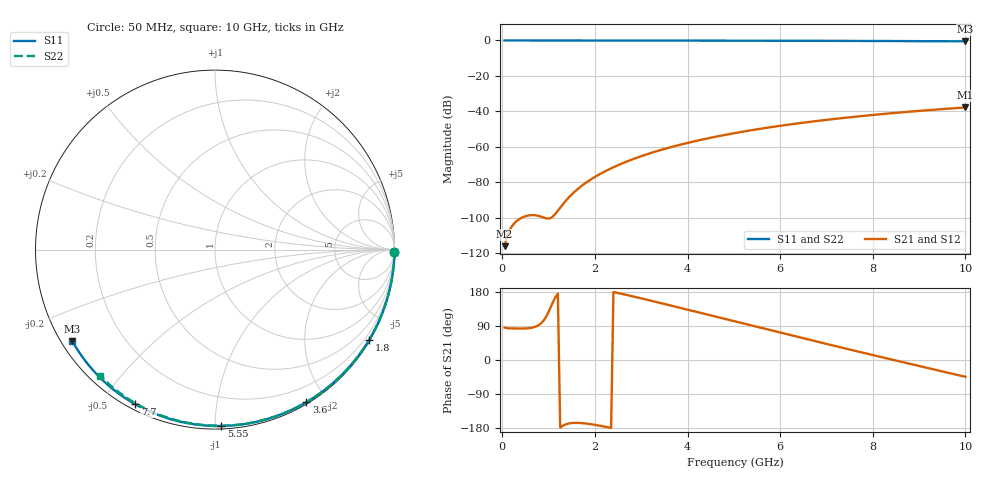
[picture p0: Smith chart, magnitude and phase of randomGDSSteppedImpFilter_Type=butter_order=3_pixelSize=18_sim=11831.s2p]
! freq	dB(S11)	phase(S11)	dB(S12)	phase(S12)
!  dB(S21)	phase(S21)	dB(S22)	phase(S22)
!S-par simulation data
#  GHz  S  DB  R 50
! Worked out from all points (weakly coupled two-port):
!   200 points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, 50 MHz to 10 GHz, reference 50 ohm
!   highest |S21| = -37.78 dB at 10 GHz (marker M1); lowest = -116.0 dB at 50 MHz (marker M2)
!   lowest |S11| = -0.5 dB at 10 GHz (marker M3), VSWR 34.97, Z = 1.55 - j14.7 ohm
!   |S11| at or under -10 dB: nowhere
!   |S22| runs from -0.4 to 0.0 dB; largest |S21 - S12| = 0
!   S11 on the Smith chart (normalised r, x): 50 MHz: open; 1.8 GHz: 0.03, -3.69; 3.6 GHz: 0.02, -1.76; 5.55 GHz: 0.02, -1.04; 7.7 GHz: 0.02, -0.61; 10 GHz: 0.03, -0.29
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0.05  -0.00 -0.9  -116.01 85.7  -116.01 85.7  -0.00 -0.8
0.45  -0.01 -7.7  -99.59 83.0  -99.59 83.0  -0.01 -6.9
0.9  -0.02 -15.3  -99.93 105.4  -99.93 105.4  -0.02 -13.7
1.3  -0.03 -22.0  -92.61 -173.9  -92.61 -173.9  -0.02 -19.7
1.75  -0.04 -29.5  -81.29 -166.9  -81.29 -166.9  -0.03 -26.4
1.8  -0.04 -30.3  -80.34 -167.6  -80.34 -167.6  -0.03 -27.2
1.85  -0.04 -31.1  -79.44 -168.3  -79.44 -168.3  -0.04 -27.9
2  -0.04 -33.6  -76.96 -171.1  -76.96 -171.1  -0.04 -30.1
2.15  -0.05 -36.1  -74.74 -174.4  -74.74 -174.4  -0.04 -32.3
2.5  -0.05 -41.7  -70.32 176.7  -70.32 176.7  -0.05 -37.4
2.9  -0.06 -48.1  -66.18 165.6  -66.18 165.6  -0.06 -43.2
3.4  -0.07 -56.0  -61.93 150.9  -61.93 150.9  -0.07 -50.3
3.6  -0.08 -59.1  -60.45 144.9  -60.45 144.9  -0.07 -53.1
4.3  -0.10 -69.8  -55.97 123.7  -55.97 123.7  -0.09 -62.7
5.05  -0.12 -80.8  -52.10 100.9  -52.10 100.9  -0.11 -72.8
5.55  -0.14 -88.0  -49.90 85.8  -49.90 85.8  -0.13 -79.3
6.1  -0.17 -95.7  -47.76 69.2  -47.76 69.2  -0.15 -86.3
6.7  -0.20 -104.0  -45.70 51.3  -45.70 51.3  -0.18 -93.7
7.7  -0.27 -117.3  -42.78 21.8  -42.78 21.8  -0.24 -105.8
8.35  -0.32 -125.9  -41.16 2.9  -41.16 2.9  -0.29 -113.5
9.2  -0.41 -136.9  -39.30 -21.5  -39.30 -21.5  -0.36 -123.3
10  -0.50 -147.3  -37.78 -44.3  -37.78 -44.3  -0.45 -132.4
